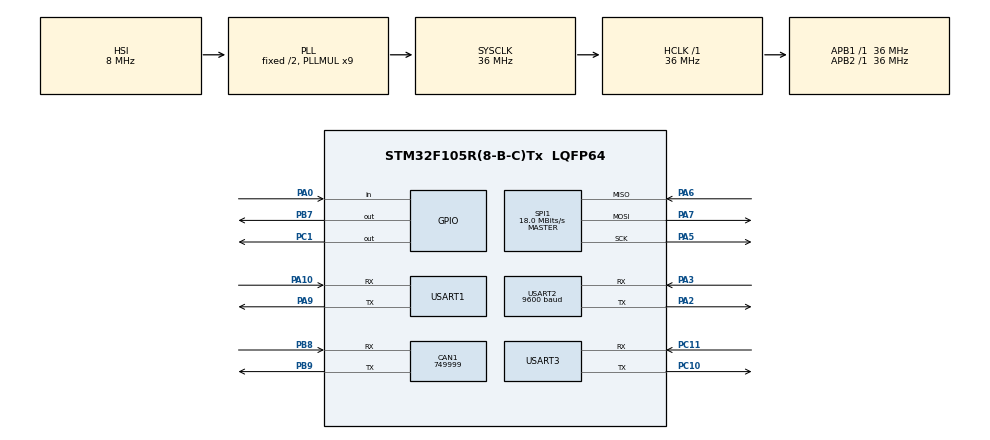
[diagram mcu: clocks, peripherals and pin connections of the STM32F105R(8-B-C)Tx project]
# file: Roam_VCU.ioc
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CAN1.CalculateBaudRate=749999
CAN1.CalculateTimeBit=1333
CAN1.CalculateTimeQuantum=444.44444444444446
Mcu.Family=STM32F1
Mcu.Name=STM32F105R(8-B-C)Tx
Mcu.Package=LQFP64
NVIC.PriorityGroup=NVIC_PRIORITYGROUP_4
PA0-WKUP.Signal=GPIO_Input
PA10.Mode=Asynchronous
PA10.Signal=USART1_RX
PA13.Mode=Serial_Wire
PA13.Signal=SYS_JTMS-SWDIO
PA14.Mode=Serial_Wire
PA14.Signal=SYS_JTCK-SWCLK
PA2.Mode=Asynchronous
PA2.Signal=USART2_TX
PA3.Mode=Asynchronous
PA3.Signal=USART2_RX
PA5.Mode=Full_Duplex_Master
PA5.Signal=SPI1_SCK
PA6.Mode=Full_Duplex_Master
PA6.Signal=SPI1_MISO
PA7.Mode=Full_Duplex_Master
PA7.Signal=SPI1_MOSI
PA9.Mode=Asynchronous
PA9.Signal=USART1_TX
PB7.GPIO_PuPd=GPIO_PULLDOWN
PB7.Signal=GPIO_Output
PB8.Mode=CAN_Activate
PB8.Signal=CAN1_RX
PB9.Mode=CAN_Activate
PB9.Signal=CAN1_TX
PC1.GPIO_ModeDefaultOutputPP=GPIO_MODE_OUTPUT_PP
PC1.GPIO_PuPd=GPIO_NOPULL
PC1.Signal=GPIO_Output
PC10.Mode=Asynchronous
PC10.Signal=USART3_TX
PC11.Mode=Asynchronous
PC11.Signal=USART3_RX
PD0-OSC_IN.Mode=HSE-External-Oscillator
PD0-OSC_IN.Signal=RCC_OSC_IN
PD1-OSC_OUT.Mode=HSE-External-Oscillator
PD1-OSC_OUT.Signal=RCC_OSC_OUT
ProjectManager.HeapSize=0x200
ProjectManager.StackSize=0x400
ProjectManager.TargetToolchain=STM32CubeIDE
RCC.AHBFreq_Value=36000000
RCC.APB1Freq_Value=36000000
RCC.APB1TimFreq_Value=36000000
RCC.APB2Freq_Value=36000000
RCC.APB2TimFreq_Value=36000000
RCC.HCLKFreq_Value=36000000
RCC.HSEDivPLL=RCC_HSE_PREDIV_DIV5
RCC.HSE_VALUE=25000000
RCC.PLLMUL=RCC_PLL_MUL9
RCC.Prediv1Source=RCC_PREDIV1_SOURCE_PLL2
RCC.Prediv2=RCC_HSE_PREDIV2_DIV10
RCC.SYSCLKFreq_VALUE=36000000
RCC.SYSCLKSource=RCC_SYSCLKSOURCE_PLLCLK
RCC.USBFreq_Value=24000000
SPI1.BaudRatePrescaler=SPI_BAUDRATEPRESCALER_2
SPI1.CalculateBaudRate=18.0 MBits/s
SPI1.Direction=SPI_DIRECTION_2LINES
SPI1.Mode=SPI_MODE_MASTER
SPI1.VirtualType=VM_MASTER
USART1.VirtualMode=VM_ASYNC
USART2.BaudRate=9600
USART2.VirtualMode=VM_ASYNC
USART3.VirtualMode=VM_ASYNC
VP_RTC_VS_RTC_Activate.Mode=RTC_Enabled
VP_TIM1_VS_ClockSourceINT.Mode=Internal
board=custom

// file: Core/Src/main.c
/* USER CODE BEGIN Header */
/**
  ******************************************************************************
  * @file           : main.c
  * @brief          : Main program body
  ******************************************************************************
  * @attention
  *
  * Copyright (c) 2023 STMicroelectronics.
  * All rights reserved.
  *
  * This software is licensed under terms that can be found in the LICENSE file
  * in the root directory of this software component.
  * If no LICENSE file comes with this software, it is provided AS-IS.
  *
  ******************************************************************************
  */
/* USER CODE END Header */
#include "main.h"

/* USER CODE BEGIN Includes */
#include "SEGGER_RTT.h"
#include <stdbool.h>
/* USER CODE END Includes */

/* USER CODE BEGIN PTD */
CAN_TxHeaderTypeDef TxHeader;
/* USER CODE END PTD */

/* USER CODE BEGIN PD */
#define BufferSize_rsFEF 8
#define BufferSize 30
#define BufferSize_ESP 20
#define BufferSize_Sync 30
// CS宏定�??????
#define W25N512_CS_LOW()     HAL_GPIO_WritePin(GPIOA, GPIO_PIN_4, GPIO_PIN_RESET)
#define W25N512_CS_HIGH()    HAL_GPIO_WritePin(GPIOA, GPIO_PIN_4, GPIO_PIN_SET)

#define W25N_DEVICE_ID_READ_CMD    0x9F

/* USER CODE END PD */

/* USER CODE BEGIN PM */
uint8_t TxData[8];//CAN BUS DATA
uint32_t TxMailbox;

uint8_t txData[] = "Hello, CANOK!";  // 要发送的数据
uint8_t txData_UART[] = "Hello, UART2!";  // 要发送的数据
uint8_t rxData[BufferSize];
uint8_t rxData_ESP[BufferSize_ESP];
uint8_t txData_ESP[BufferSize_Sync];
uint8_t rsFEF[] = {0x01,0x02,0x03,0x04,0x05,0x06,0x07,0x08};
uint8_t rsFEF_RX[BufferSize_rsFEF];
uint8_t rxData_cmp[] = {'f', 0x01, 0x02};
/* USER CODE END PM */

CAN_HandleTypeDef hcan1;

RTC_HandleTypeDef hrtc;

SPI_HandleTypeDef hspi1;

TIM_HandleTypeDef htim1;

UART_HandleTypeDef huart1;
UART_HandleTypeDef huart2;
UART_HandleTypeDef huart3;

void SystemClock_Config(void);
static void MX_GPIO_Init(void);
static void MX_CAN1_Init(void);
static void MX_TIM1_Init(void);
static void MX_RTC_Init(void);
static void MX_USART1_UART_Init(void);
static void MX_SPI1_Init(void);
static void MX_USART3_UART_Init(void);
static void MX_USART2_UART_Init(void);
/* USER CODE BEGIN PFP */
uint8_t W25N512GVEIG_ReadDeviceID(void);
/* USER CODE END PFP */

int main(void)
{
  /* USER CODE BEGIN 1 */
	TxHeader.StdId = 0x01;
	TxHeader.DLC = 8;                 // 数据长度�??????????????? 8 字节
	TxHeader.IDE = CAN_ID_STD;        // 使用标准标识�???????????????
	TxHeader.RTR = CAN_RTR_DATA;      // 数据�???????????????

  /* USER CODE END 1 */

  /* MCU Configuration--------------------------------------------------------*/

  /* Reset of all peripherals, Initializes the Flash interface and the Systick. */
  HAL_Init();

  /* Configure the system clock */
  SystemClock_Config();

  /* Initialize all configured peripherals */
  MX_GPIO_Init();
  MX_CAN1_Init();
  MX_TIM1_Init();
  MX_RTC_Init();
  MX_USART1_UART_Init();
  MX_SPI1_Init();
  MX_USART3_UART_Init();
  MX_USART2_UART_Init();
  /* USER CODE BEGIN 2 */
  HAL_GPIO_WritePin(GPIOB, GPIO_PIN_7, GPIO_PIN_RESET);
  HAL_GPIO_WritePin(GPIOC, GPIO_PIN_1, GPIO_PIN_SET); //IMOUT 关闭
  SEGGER_RTT_printf(0, "IMOUT CLOSED ...\r\n");

  uint8_t deviceID = W25N512GVEIG_ReadDeviceID();

  bool IGN_PA0_O_first = 0;
  bool IGN_PA0_O_second = 0;
  IGN_PA0_O_first = HAL_GPIO_ReadPin(GPIOA, GPIO_PIN_0);

  HAL_Delay(10);
  SEGGER_RTT_printf(0, "IGN_PA0_O_first Voltage: %d\r\n", (int)IGN_PA0_O_first);

  /* USER CODE END 2 */

  /* Infinite loop */
  /* USER CODE BEGIN WHILE */
  while (1)
  {

// The first do while is for testing the RS485
      do{
    	 // SEGGER_RTT_printf(0, "sending stuff to rs485 \r\n");

    	  if (HAL_UART_Transmit(&huart2, rsFEF, sizeof(rsFEF), 2000) == HAL_OK) {
    		  SEGGER_RTT_printf(0, "Successfully sent to RS485 \r\n");
    	                                                             }

    	  HAL_Delay(1000);

    	  HAL_StatusTypeDef status = HAL_UART_Receive(&huart2, rsFEF_RX, BufferSize_rsFEF, 3000);
    	        //rxData[BufferSize - 1] = '\0'; // 添加字符串终止符
    	        // �????????查接收状�????????
    	        if (status == HAL_OK) {
    	            // 成功接收到数�????????
    	            // 在这里添加代码来处理接收到的数据
    	            // 你可以使�???????? printf 或其他方式将接收到的数据显示出来

    	      	  int dataSize = sizeof(rsFEF_RX);

    	      	  SEGGER_RTT_printf(0, "Received RS485 DATA IS: ");
    	      	  for (int i = 0; i < dataSize; i++) {
    	      	      SEGGER_RTT_printf(0, "%02X ", rsFEF_RX[i]);
    	      	  }
    	      	    SEGGER_RTT_printf(0, "\r\n");
    	        }

      }while(1);

	  SEGGER_RTT_printf(0, "DEVICEID = %06X ", deviceID);

	  static bool uart1_pend = true;

	  //-------------------------------------------------USART1 ---------------------------------------------------//
  while(uart1_pend){
      // 等待接收数据，超时时间为 1000 毫秒，接收之前先清除�?????有的缓存
	  memset(rxData, 0, BufferSize);

      HAL_StatusTypeDef status = HAL_UART_Receive(&huart1, rxData, BufferSize, 5000);
      //rxData[BufferSize - 1] = '\0'; // 添加字符串终止符

      // �????????查接收状�????????
      if (status == HAL_OK) {
          // 成功接收到数�????????
          // 在这里添加代码来处理接收到的数据
          // 你可以使�???????? printf 或其他方式将接收到的数据显示出来

    	  int dataSize = sizeof(rxData);

    	  SEGGER_RTT_printf(0, "Uart1 DATA IS: ");
    	  for (int i = 0; i < dataSize; i++) {
    	      SEGGER_RTT_printf(0, "%02X ", rxData[i]);
    	  }
    	  SEGGER_RTT_printf(0, "\r\n");

    	    if (rxData[0] == 'c') {
    	        // 接收到了期望的字符串
    	    	SEGGER_RTT_printf(0, "GET THE Result DATA from NRF\r\n");

    	    	  if (deviceID == 0x20)
    	    			  {
    	    		  SEGGER_RTT_printf(0, "Get the right Device ID \r\n");
    	    		  rxData[7] = 0x50; //把VCU的flash结果也加�?????
    //'c''modem result''sim result' 'aliyun result' 'motion result' 'nrfflash res' ''canbus result' 'vcu flash res'
    	    			  }

    	    	memcpy(TxData, rxData, 8);//把从nrf收过来的数据用CAN发�?�到ESP32

    	    	       if (HAL_CAN_AddTxMessage(&hcan1, &TxHeader, TxData, &TxMailbox) == HAL_OK) {

    	    			  SEGGER_RTT_printf(0, "CAN_SENT OUT\r\n");
    	    		                                                                              }
    	                         }

      } else if (status == HAL_TIMEOUT) {
          // 超时，未接收到数�????????
    	  //HAL_UART_Transmit(&huart1, txData, sizeof(txData), 1000);
    	  SEGGER_RTT_printf(0, "Uart1_LOOP DATA IS timeout \r\n");
          // 在这里可以添加�?�当的处理代�????????
      } else {
          // 发生错误
    	  SEGGER_RTT_printf(0, "Uart1_LOOP DATA IS error \r\n");
          // 在这里可以添加�?�当的错误处理代�????????
      }

	  if(rxData[0] != 'c' || rxData[BufferSize-1]!='s')
	  {
      while(__HAL_UART_GET_FLAG(&huart1, UART_FLAG_RXNE)) {
    	      SEGGER_RTT_printf(0, "Cleaning buffer for uart1");
		      uint8_t dummy;
		      HAL_UART_Receive(&huart1, &dummy, 1, 100);
		    }
	  }
	  if(rxData[0] == 'c' || rxData[BufferSize-1]=='s')
	  {
		  uart1_pend = false;

		  memcpy(txData_ESP, rxData, sizeof(rxData));
		  SEGGER_RTT_printf(0, "tx0 = %s \r\n", txData_ESP[0]);
		  SEGGER_RTT_printf(0, "tx29 = %s \r\n", txData_ESP[29]);
		  SEGGER_RTT_printf(0, "GET the right data from NRF");
	  }

  }
//-------------------------------------------------USART1 ---------------------------------------------------//

//两�?�之间的timeout现在是匹配好�?????

//--------------------------------------------------USART3--------------------------------------------//
//uint8_t rxData_ESP[BufferSize_ESP];

	  do{

      // 等待接收数据，超时时间为 1000 毫秒
	  memset(rxData_ESP, 0, BufferSize_ESP);

      HAL_StatusTypeDef status = HAL_UART_Receive(&huart3, rxData_ESP, BufferSize_ESP, 1000);
      //rxData[BufferSize - 1] = '\0'; // 添加字符串终止符

      // �????????查接收状�????????
      if (status == HAL_OK) {
          // 成功接收到数�????????

          // 在这里添加代码来处理接收到的数据
          // 你可以使�???????? printf 或其他方式将接收到的数据显示出来

    	  IGN_PA0_O_second = HAL_GPIO_ReadPin(GPIOA, GPIO_PIN_0);
    	  HAL_Delay(10);
    	  SEGGER_RTT_printf(0, "IGN_PA0_O_second Voltage: %d\r\n", (int)IGN_PA0_O_second);
    	  if(IGN_PA0_O_second == 0 && IGN_PA0_O_first == 1 )
    	  {
    		  txData_ESP[27] = 0x50;
    		  SEGGER_RTT_printf(0, "IGN TEST PASS \r\n");
    	  }

    	  int dataSize = sizeof(rxData_ESP);

    	  SEGGER_RTT_printf(0, "Uart3 DATA IS: ");
    	  for (int i = 0; i < dataSize; i++) {
    	      SEGGER_RTT_printf(0, "%02X ", rxData_ESP[i]);
    	  }
    	  SEGGER_RTT_printf(0, "\r\n");

  	    if (rxData_ESP[0] == 'f'&& rxData_ESP[19] == 0x77) {
  	        // 接收到了期望的字符串
  	    	SEGGER_RTT_printf(0, "GET THE Final confirm from ESP32\r\n");

      	    HAL_GPIO_WritePin(GPIOC, GPIO_PIN_1, GPIO_PIN_RESET); //IMOUT 打开

      	    SEGGER_RTT_printf(0, "IMOUT OPEN ...\r\n");

      	    HAL_Delay(1000);

  	    	//memcpy(TxData, rxData, 8);//把从nrf收过来的数据用CAN发�?�到ESP32

  	    	       if (HAL_UART_Transmit(&huart3, txData_ESP, sizeof(txData_ESP), 2000) == HAL_OK) {

  	    			  SEGGER_RTT_printf(0, "IMEI&DEVICE ID_SENT OUT\r\n");
                                                           }

  	                         }

                            }

        else if (status == HAL_TIMEOUT) {
          // 超时，未接收到数�????????
    	  SEGGER_RTT_printf(0, "Uart3_LOOP DATA IS timeout \r\n");
          // 在这里可以添加�?�当的处理代�????????
      } else {
          // 发生错误
    	  SEGGER_RTT_printf(0, "Uart3_LOOP DATA IS error \r\n");
          // 在这里可以添加�?�当的错误处理代�????????
      }
      HAL_Delay(10);
  }while(0);

	  //--------------------------------------------------USART3--------------------------------------------//

//	  HAL_Delay(100);  // 延迟 1000 毫秒，即 1 �???????????????
    /* USER CODE END WHILE */

  }
}

void SystemClock_Config(void)
{
  RCC_OscInitTypeDef RCC_OscInitStruct = {0};
  RCC_ClkInitTypeDef RCC_ClkInitStruct = {0};
  RCC_PeriphCLKInitTypeDef PeriphClkInit = {0};

  /** Initializes the RCC Oscillators according to the specified parameters
  * in the RCC_OscInitTypeDef structure.
  */
  RCC_OscInitStruct.OscillatorType = RCC_OSCILLATORTYPE_HSI|RCC_OSCILLATORTYPE_LSI;
  RCC_OscInitStruct.HSIState = RCC_HSI_ON;
  RCC_OscInitStruct.HSICalibrationValue = RCC_HSICALIBRATION_DEFAULT;
  RCC_OscInitStruct.LSIState = RCC_LSI_ON;
  RCC_OscInitStruct.Prediv1Source = RCC_PREDIV1_SOURCE_PLL2;
  RCC_OscInitStruct.PLL.PLLState = RCC_PLL_ON;
  RCC_OscInitStruct.PLL.PLLSource = RCC_PLLSOURCE_HSI_DIV2;
  RCC_OscInitStruct.PLL.PLLMUL = RCC_PLL_MUL9;
  RCC_OscInitStruct.PLL2.PLL2State = RCC_PLL_NONE;
  if (HAL_RCC_OscConfig(&RCC_OscInitStruct) != HAL_OK)
  {
    Error_Handler();
  }

  /** Initializes the CPU, AHB and APB buses clocks
  */
  RCC_ClkInitStruct.ClockType = RCC_CLOCKTYPE_HCLK|RCC_CLOCKTYPE_SYSCLK
                              |RCC_CLOCKTYPE_PCLK1|RCC_CLOCKTYPE_PCLK2;
  RCC_ClkInitStruct.SYSCLKSource = RCC_SYSCLKSOURCE_PLLCLK;
  RCC_ClkInitStruct.AHBCLKDivider = RCC_SYSCLK_DIV1;
  RCC_ClkInitStruct.APB1CLKDivider = RCC_HCLK_DIV1;
  RCC_ClkInitStruct.APB2CLKDivider = RCC_HCLK_DIV1;

  if (HAL_RCC_ClockConfig(&RCC_ClkInitStruct, FLASH_LATENCY_1) != HAL_OK)
  {
    Error_Handler();
  }
  PeriphClkInit.PeriphClockSelection = RCC_PERIPHCLK_RTC;
  PeriphClkInit.RTCClockSelection = RCC_RTCCLKSOURCE_LSI;
  if (HAL_RCCEx_PeriphCLKConfig(&PeriphClkInit) != HAL_OK)
  {
    Error_Handler();
  }

  /** Configure the Systick interrupt time
  */
  __HAL_RCC_PLLI2S_ENABLE();
}

static void MX_CAN1_Init(void)
{

  hcan1.Instance = CAN1;
  hcan1.Init.Prescaler = 16;
  hcan1.Init.Mode = CAN_MODE_NORMAL;
  hcan1.Init.SyncJumpWidth = CAN_SJW_1TQ;
  hcan1.Init.TimeSeg1 = CAN_BS1_1TQ;
  hcan1.Init.TimeSeg2 = CAN_BS2_1TQ;
  hcan1.Init.TimeTriggeredMode = DISABLE;
  hcan1.Init.AutoBusOff = DISABLE;
  hcan1.Init.AutoWakeUp = DISABLE;
  hcan1.Init.AutoRetransmission = DISABLE;
  hcan1.Init.ReceiveFifoLocked = DISABLE;
  hcan1.Init.TransmitFifoPriority = DISABLE;
  if (HAL_CAN_Init(&hcan1) != HAL_OK)
  {
    Error_Handler();
  }
  /* USER CODE BEGIN CAN1_Init 2 */
  CAN_FilterTypeDef  sFilterConfig;

    /* Configure the CAN Filter */
    sFilterConfig.FilterBank = 0;
    sFilterConfig.FilterMode = CAN_FILTERMODE_IDMASK;
    sFilterConfig.FilterScale = CAN_FILTERSCALE_32BIT;
    sFilterConfig.FilterIdHigh = 0x0000;
    sFilterConfig.FilterIdLow = 0x0000;
    sFilterConfig.FilterMaskIdHigh = 0x0000;
    sFilterConfig.FilterMaskIdLow = 0x0000;
    sFilterConfig.FilterFIFOAssignment = CAN_RX_FIFO0;
    sFilterConfig.FilterActivation = ENABLE;
    sFilterConfig.SlaveStartFilterBank = 14;

    if (HAL_CAN_ConfigFilter(&hcan1, &sFilterConfig) != HAL_OK)
    {
   	 /* Filter configuration Error */
   	 Error_Handler();
    }

    /* Start the CAN peripheral */
    if (HAL_CAN_Start(&hcan1) != HAL_OK)
    {
      /* Start Error */
      Error_Handler();
    }
  /* USER CODE END CAN1_Init 2 */

}

static void MX_RTC_Init(void)
{

  /** Initialize RTC Only
  */
  hrtc.Instance = RTC;
  hrtc.Init.AsynchPrediv = RTC_AUTO_1_SECOND;
  hrtc.Init.OutPut = RTC_OUTPUTSOURCE_ALARM;
  if (HAL_RTC_Init(&hrtc) != HAL_OK)
  {
    Error_Handler();
  }

}

static void MX_SPI1_Init(void)
{

  /* SPI1 parameter configuration*/
  hspi1.Instance = SPI1;
  hspi1.Init.Mode = SPI_MODE_MASTER;
  hspi1.Init.Direction = SPI_DIRECTION_2LINES;
  hspi1.Init.DataSize = SPI_DATASIZE_8BIT;
  hspi1.Init.CLKPolarity = SPI_POLARITY_LOW;
  hspi1.Init.CLKPhase = SPI_PHASE_1EDGE;
  hspi1.Init.NSS = SPI_NSS_SOFT;
  hspi1.Init.BaudRatePrescaler = SPI_BAUDRATEPRESCALER_2;
  hspi1.Init.FirstBit = SPI_FIRSTBIT_MSB;
  hspi1.Init.TIMode = SPI_TIMODE_DISABLE;
  hspi1.Init.CRCCalculation = SPI_CRCCALCULATION_DISABLE;
  hspi1.Init.CRCPolynomial = 10;
  if (HAL_SPI_Init(&hspi1) != HAL_OK)
  {
    Error_Handler();
  }

}

static void MX_TIM1_Init(void)
{

  TIM_ClockConfigTypeDef sClockSourceConfig = {0};
  TIM_MasterConfigTypeDef sMasterConfig = {0};

  htim1.Instance = TIM1;
  htim1.Init.Prescaler = 0;
  htim1.Init.CounterMode = TIM_COUNTERMODE_UP;
  htim1.Init.Period = 65535;
  htim1.Init.ClockDivision = TIM_CLOCKDIVISION_DIV1;
  htim1.Init.RepetitionCounter = 0;
  htim1.Init.AutoReloadPreload = TIM_AUTORELOAD_PRELOAD_DISABLE;
  if (HAL_TIM_Base_Init(&htim1) != HAL_OK)
  {
    Error_Handler();
  }
  sClockSourceConfig.ClockSource = TIM_CLOCKSOURCE_INTERNAL;
  if (HAL_TIM_ConfigClockSource(&htim1, &sClockSourceConfig) != HAL_OK)
  {
    Error_Handler();
  }
  sMasterConfig.MasterOutputTrigger = TIM_TRGO_RESET;
  sMasterConfig.MasterSlaveMode = TIM_MASTERSLAVEMODE_DISABLE;
  if (HAL_TIMEx_MasterConfigSynchronization(&htim1, &sMasterConfig) != HAL_OK)
  {
    Error_Handler();
  }

}

static void MX_USART1_UART_Init(void)
{

  huart1.Instance = USART1;
  huart1.Init.BaudRate = 115200;
  huart1.Init.WordLength = UART_WORDLENGTH_8B;
  huart1.Init.StopBits = UART_STOPBITS_1;
  huart1.Init.Parity = UART_PARITY_NONE;
  huart1.Init.Mode = UART_MODE_TX_RX;
  huart1.Init.HwFlowCtl = UART_HWCONTROL_NONE;
  huart1.Init.OverSampling = UART_OVERSAMPLING_16;
  if (HAL_UART_Init(&huart1) != HAL_OK)
  {
    Error_Handler();
  }

}

static void MX_USART2_UART_Init(void)
{

  huart2.Instance = USART2;
  huart2.Init.BaudRate = 9600;
  huart2.Init.WordLength = UART_WORDLENGTH_8B;
  huart2.Init.StopBits = UART_STOPBITS_1;
  huart2.Init.Parity = UART_PARITY_NONE;
  huart2.Init.Mode = UART_MODE_TX_RX;
  huart2.Init.HwFlowCtl = UART_HWCONTROL_NONE;
  huart2.Init.OverSampling = UART_OVERSAMPLING_16;
  if (HAL_UART_Init(&huart2) != HAL_OK)
  {
    Error_Handler();
  }

}

static void MX_USART3_UART_Init(void)
{

  huart3.Instance = USART3;
  huart3.Init.BaudRate = 115200;
  huart3.Init.WordLength = UART_WORDLENGTH_8B;
  huart3.Init.StopBits = UART_STOPBITS_1;
  huart3.Init.Parity = UART_PARITY_NONE;
  huart3.Init.Mode = UART_MODE_TX_RX;
  huart3.Init.HwFlowCtl = UART_HWCONTROL_NONE;
  huart3.Init.OverSampling = UART_OVERSAMPLING_16;
  if (HAL_UART_Init(&huart3) != HAL_OK)
  {
    Error_Handler();
  }

}

static void MX_GPIO_Init(void)
{
  GPIO_InitTypeDef GPIO_InitStruct = {0};

  /* GPIO Ports Clock Enable */
  __HAL_RCC_GPIOD_CLK_ENABLE();
  __HAL_RCC_GPIOC_CLK_ENABLE();
  __HAL_RCC_GPIOA_CLK_ENABLE();
  __HAL_RCC_GPIOB_CLK_ENABLE();

  /*Configure GPIO pin Output Level */
  HAL_GPIO_WritePin(GPIOC, GPIO_PIN_1, GPIO_PIN_RESET);

  /*Configure GPIO pin Output Level */
  HAL_GPIO_WritePin(GPIOB, GPIO_PIN_7, GPIO_PIN_RESET);

  /*Configure GPIO pin : PC1 */
  GPIO_InitStruct.Pin = GPIO_PIN_1;
  GPIO_InitStruct.Mode = GPIO_MODE_OUTPUT_PP;
  GPIO_InitStruct.Pull = GPIO_NOPULL;
  GPIO_InitStruct.Speed = GPIO_SPEED_FREQ_LOW;
  HAL_GPIO_Init(GPIOC, &GPIO_InitStruct);

  /*Configure GPIO pin : PA0 */
  GPIO_InitStruct.Pin = GPIO_PIN_0;
  GPIO_InitStruct.Mode = GPIO_MODE_INPUT;
  GPIO_InitStruct.Pull = GPIO_NOPULL;
  HAL_GPIO_Init(GPIOA, &GPIO_InitStruct);

  /*Configure GPIO pin : PB7 */
  GPIO_InitStruct.Pin = GPIO_PIN_7;
  GPIO_InitStruct.Mode = GPIO_MODE_OUTPUT_PP;
  GPIO_InitStruct.Pull = GPIO_PULLDOWN;
  GPIO_InitStruct.Speed = GPIO_SPEED_FREQ_LOW;
  HAL_GPIO_Init(GPIOB, &GPIO_InitStruct);

/* USER CODE BEGIN MX_GPIO_Init_2 */

  // SPI CS Pin
  GPIO_InitStruct.Pin = GPIO_PIN_4;
  GPIO_InitStruct.Mode = GPIO_MODE_OUTPUT_PP;
  GPIO_InitStruct.Speed = GPIO_SPEED_FREQ_LOW;
  HAL_GPIO_Init(GPIOA, &GPIO_InitStruct);

  // 设置默认为高
  W25N512_CS_HIGH();

/* USER CODE END MX_GPIO_Init_2 */
}

/* USER CODE BEGIN 4 */

// 从W25N512GVEIG读取DEVICE ID的函�??????
uint8_t W25N512GVEIG_ReadDeviceID(void)
{
    uint8_t device_id[4];
    device_id[3] = 0xFF;

    W25N512_CS_LOW();

    uint8_t cmd = W25N_DEVICE_ID_READ_CMD;
    HAL_SPI_Transmit(&hspi1, &cmd, 1, HAL_MAX_DELAY);
    HAL_SPI_Receive(&hspi1, device_id, 4, HAL_MAX_DELAY);

    W25N512_CS_HIGH();

   // return device_id[0];//return Dummy
   // return device_id[1];
   // return device_id[2];
    return device_id[3];

}
/* USER CODE END 4 */

void Error_Handler(void)
{
  __disable_irq();
  while (1)
  {
  }
}
